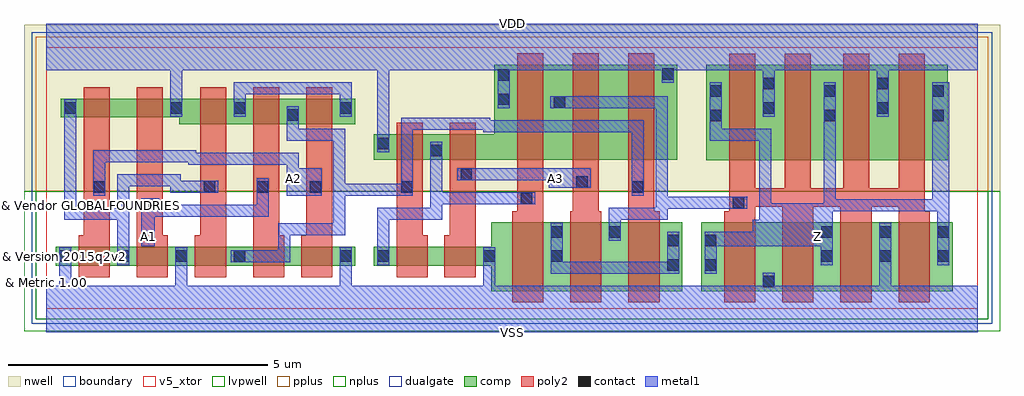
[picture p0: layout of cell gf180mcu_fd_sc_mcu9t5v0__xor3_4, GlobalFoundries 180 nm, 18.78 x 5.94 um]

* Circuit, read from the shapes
.subckt gf180mcu_fd_sc_mcu9t5v0__xor3_4 A1 A2 A3 VDD VSS Z
XM1 n1 A2 VSS VSUBS nfet_05v0 w=0.36u l=0.6u
XM2 VSS A1 n1 VSUBS nfet_05v0 w=0.36u l=0.6u
XM3 n2 n1 VSS VSUBS nfet_05v0 w=0.36u l=0.6u
XM4 n3 A1 n2 VSUBS nfet_05v0 w=0.36u l=0.6u
XM5 VSS A2 n3 VSUBS nfet_05v0 w=0.36u l=0.6u
XM6 n4 n2 n5 VSUBS nfet_05v0 w=0.36u l=0.6u
XM7 VSS A3 n4 VSUBS nfet_05v0 w=0.36u l=0.6u
XM8 n6 n5 VSS VSUBS nfet_05v0 w=1.32u l=0.6u
XM9 n7 A3 n6 VSUBS nfet_05v0 w=1.32u l=0.6u
XM10 n6 n2 n7 VSUBS nfet_05v0 w=1.32u l=0.6u
XM11 VSS n7 Z VSUBS nfet_05v0 w=1.32u l=0.6u m=4
XM12 n8 A2 n1 n9 pfet_05v0 w=0.36u l=0.5u
XM13 VDD A1 n8 n9 pfet_05v0 w=0.36u l=0.5u
XM14 n10 n1 VDD n9 pfet_05v0 w=0.495u l=0.5u
XM15 n2 A1 n10 n9 pfet_05v0 w=0.495u l=0.5u
XM16 n10 A2 n2 n9 pfet_05v0 w=0.495u l=0.5u
XM17 n5 n2 VDD n9 pfet_05v0 w=0.495u l=0.5u
XM18 VDD A3 n5 n9 pfet_05v0 w=0.495u l=0.5u
XM19 n7 n5 VDD n9 pfet_05v0 w=1.83u l=0.5u
XM20 n11 A3 n7 n9 pfet_05v0 w=1.83u l=0.5u
XM21 VDD n2 n11 n9 pfet_05v0 w=1.83u l=0.5u
XM22 VDD n7 Z n9 pfet_05v0 w=1.83u l=0.5u m=4
.ends

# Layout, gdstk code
import gdstk
lib = gdstk.Library(unit=1e-6, precision=1e-09)
def R(c, l, rs):  # rectangles x0, y0, x1, y1
    for r in rs: c.add(gdstk.rectangle(r[:2], r[2:], *l))
def A(c, l, x, y, w, h, nx, ny, dx, dy):  # array of equal rectangles
    R(c, l, [(x+i*dx, y+j*dy, x+i*dx+w, y+j*dy+h) for i in range(nx) for j in range(ny)])
def P(c, l, *ps):  # polygons
    for p in ps: c.add(gdstk.Polygon(p, *l))
boundary = (0, 0)
nwell = (21, 0)
comp = (22, 0)
poly2 = (30, 0)
pplus = (31, 0)
nplus = (32, 0)
contact = (33, 0)
metal1 = (34, 0)
dualgate = (55, 0)
v5_xtor = (112, 1)
lvpwell = (204, 0)

gf180mcu_fd_sc_mcu9t5v0_ = lib.new_cell('gf180mcu_fd_sc_mcu9t5v0__xor3_4')
R(gf180mcu_fd_sc_mcu9t5v0_, boundary, [(0,0,17.92,5.04)])
R(gf180mcu_fd_sc_mcu9t5v0_, nwell, [(-0.43,2.265,18.35,5.47)])
R(gf180mcu_fd_sc_mcu9t5v0_, comp, [(12.6,0.345,17.44,1.665), (0.18,0.835,5.94,1.195), (12.7,2.865,17.34,4.695)])
P(gf180mcu_fd_sc_mcu9t5v0_, comp, [(2.56,3.55),(2.56,3.685),(0.28,3.685),(0.28,4.045),(5.94,4.045),(5.94,3.55)],
  [(6.3,2.87),(6.3,3.365),(8.62,3.365),(8.62,4.7),(12.14,4.7),(12.14,2.87)],
  [(8.56,0.345),(8.56,0.835),(6.3,0.835),(6.3,1.195),(8.56,1.195),(8.56,1.665),(12.24,1.665),(12.24,0.345)])
P(gf180mcu_fd_sc_mcu9t5v0_, poly2, [(0.62,0.615),(0.62,1.415),(0.72,1.415),(0.72,4.265),(1.22,4.265),(1.22,0.615)],
  [(1.74,0.615),(1.74,4.265),(2.24,4.265),(2.24,1.415),(2.34,1.415),(2.34,0.615)],
  [(2.86,0.615),(2.86,1.415),(2.96,1.415),(2.96,4.265),(3.46,4.265),(3.46,0.615)],
  [(3.98,0.615),(3.98,4.265),(4.48,4.265),(4.48,1.415),(4.58,1.415),(4.58,0.615)],
  [(4.9,0.615),(4.9,1.415),(5,1.415),(5,4.265),(5.5,4.265),(5.5,0.615)],
  [(6.74,0.615),(6.74,3.585),(7.24,3.585),(7.24,1.415),(7.34,1.415),(7.34,0.615)],
  [(7.66,0.615),(7.66,1.415),(7.76,1.415),(7.76,3.585),(8.26,3.585),(8.26,0.615)],
  [(8.96,0.125),(8.96,1.885),(9.06,1.885),(9.06,4.92),(9.56,4.92),(9.56,0.125)],
  [(10.08,0.125),(10.08,1.885),(10.13,1.885),(10.13,4.92),(10.63,4.92),(10.63,1.885),(10.68,1.885),(10.68,0.125)],
  [(11.2,0.125),(11.2,4.92),(11.7,4.92),(11.7,1.885),(11.8,1.885),(11.8,0.125)],
  [(13.04,0.125),(13.04,1.885),(13.14,1.885),(13.14,4.915),(13.64,4.915),(13.64,2.325),(14.21,2.325),(14.21,4.915),(14.71,4.915),(14.71,2.325),(15.33,2.325),(15.33,4.915),(15.83,4.915),(15.83,2.325),(16.4,2.325),(16.4,4.915),(16.9,4.915),(16.9,1.885),(17,1.885),(17,0.125),(16.4,0.125),(16.4,1.965),(15.88,1.965),(15.88,0.125),(15.28,0.125),(15.28,1.965),(14.76,1.965),(14.76,0.125),(14.16,0.125),(14.16,1.965),(13.64,1.965),(13.64,0.125)])
R(gf180mcu_fd_sc_mcu9t5v0_, pplus, [(-0.2,2.265,18.12,5.24)])
R(gf180mcu_fd_sc_mcu9t5v0_, nplus, [(-0.2,-0.2,18.12,2.265)])
A(gf180mcu_fd_sc_mcu9t5v0_, contact, 0.25, 0.905, 0.22, 0.22, 4, 1, 1.12, 0)
A(gf180mcu_fd_sc_mcu9t5v0_, contact, 14.91, 0.905, 0.22, 0.22, 3, 2, 1.12, 0.47)
A(gf180mcu_fd_sc_mcu9t5v0_, contact, 3.03, 2.24, 0.22, 0.22, 3, 1, 1.02, 0)
R(gf180mcu_fd_sc_mcu9t5v0_, contact, [(13.79,0.415,14.01,0.635), (11.95,0.74,12.17,0.96), (12.67,0.74,12.89,0.96), (5.65,0.905,5.87,1.125), (6.37,0.905,6.59,1.125), (8.41,0.905,8.63,1.125), (9.71,0.905,9.93,1.125), (11.95,1.21,12.17,1.43), (12.67,1.21,12.89,1.43), (9.71,1.375,9.93,1.595), (10.83,1.375,11.05,1.595), (1.89,1.91,2.11,2.13), (13.21,1.935,13.43,2.155), (9.13,2.02,9.35,2.24), (0.91,2.24,1.13,2.46), (6.83,2.24,7.05,2.46), (11.27,2.24,11.49,2.46), (10.2,2.335,10.42,2.555), (7.97,2.48,8.19,2.7), (7.39,2.94,7.61,3.16), (6.37,3.075,6.59,3.295), (12.77,3.61,12.99,3.83), (14.96,3.61,15.18,3.83), (17.05,3.61,17.27,3.83), (4.63,3.62,4.85,3.84), (0.35,3.755,0.57,3.975), (2.39,3.755,2.61,3.975), (3.61,3.755,3.83,3.975), (5.65,3.755,5.87,3.975), (13.79,3.755,14.01,3.975), (15.98,3.755,16.2,3.975), (9.76,3.87,9.98,4.09), (8.69,3.925,8.91,4.145), (12.77,4.08,12.99,4.3), (14.96,4.08,15.18,4.3), (17.05,4.08,17.27,4.3), (13.79,4.225,14.01,4.445), (15.98,4.225,16.2,4.445), (8.69,4.395,8.91,4.615), (11.85,4.41,12.07,4.63)])
P(gf180mcu_fd_sc_mcu9t5v0_, metal1, [(1.365,0.845),(1.365,1.72),(0.345,1.72),(0.345,4.035),(0.575,4.035),(0.575,1.95),(1.365,1.95),(1.365,2.595),(2.59,2.595),(2.59,2.465),(3.31,2.465),(3.31,2.235),(2.38,2.235),(2.38,2.365),(1.595,2.365),(1.595,0.845)],
  [(1.83,1.21),(1.83,2.135),(2.17,2.135),(2.17,2.005),(4.045,2.005),(4.045,2.52),(4.275,2.52),(4.275,1.775),(2.09,1.775),(2.09,1.21)],
  [(0.905,2.18),(0.905,3.055),(2.88,3.055),(2.88,3.005),(4.86,3.005),(4.86,2.71),(5.295,2.71),(5.295,2.18),(4.63,2.18),(4.63,2.775),(2.735,2.775),(2.735,2.825),(1.135,2.825),(1.135,2.18)],
  [(3.605,3.695),(3.605,4.36),(5.875,4.36),(5.875,3.695),(5.645,3.695),(5.645,4.13),(3.835,4.13),(3.835,3.695)],
  [(6.365,0.845),(6.365,1.95),(7.385,1.95),(7.385,3.22),(7.615,3.22),(7.615,2.245),(9.41,2.245),(9.41,2.015),(7.615,2.015),(7.615,1.72),(6.595,1.72),(6.595,0.845)],
  [(9.67,2.33),(9.67,2.475),(7.91,2.475),(7.91,2.71),(10.48,2.71),(10.48,2.33)],
  [(3.55,0.9),(3.55,1.13),(4.465,1.13),(4.465,1.645),(5.525,1.645),(5.525,3.235),(4.625,3.235),(4.625,3.9),(4.855,3.9),(4.855,3.465),(5.755,3.465),(5.755,2.41),(6.825,2.41),(6.825,3.68),(8.545,3.68),(8.545,3.635),(11.495,3.635),(11.495,2.18),(11.265,2.18),(11.265,3.405),(8.405,3.405),(8.405,3.45),(7.055,3.45),(7.055,2.18),(5.755,2.18),(5.755,1.415),(4.695,1.415),(4.695,0.9)],
  [(9.705,0.68),(9.705,1.655),(9.935,1.655),(9.935,0.91),(11.945,0.91),(11.945,1.49),(12.175,1.49),(12.175,0.68)],
  [(10.825,1.315),(10.825,1.95),(11.725,1.95),(11.725,3.865),(9.7,3.865),(9.7,4.095),(11.955,4.095),(11.955,2.16),(13.49,2.16),(13.49,1.93),(11.955,1.93),(11.955,1.72),(11.055,1.72),(11.055,1.315)],
  [(12.665,0.68),(12.665,1.49),(13.59,1.49),(13.59,1.72),(13.72,1.72),(13.72,3.235),(12.765,3.235),(12.765,4.36),(12.995,4.36),(12.995,3.465),(13.95,3.465),(13.95,2.03),(14.955,2.03),(14.955,4.36),(15.185,4.36),(15.185,2.115),(17.045,2.115),(17.045,4.36),(17.375,4.36),(17.375,0.845),(17.145,0.845),(17.145,1.885),(15.135,1.885),(15.135,0.845),(14.905,0.845),(14.905,1.21),(12.895,1.21),(12.895,0.68)],
  [(0,-0.45),(0,0.45),(0.245,0.45),(0.245,1.185),(0.475,1.185),(0.475,0.45),(2.485,0.45),(2.485,1.185),(2.715,1.185),(2.715,0.45),(5.645,0.45),(5.645,1.185),(5.875,1.185),(5.875,0.45),(8.405,0.45),(8.405,1.185),(8.635,1.185),(8.635,0.45),(13.785,0.45),(13.785,0.695),(14.015,0.695),(14.015,0.45),(16.025,0.45),(16.025,1.655),(16.255,1.655),(16.255,0.45),(17.92,0.45),(17.92,-0.45)],
  [(6.365,3.015),(6.365,4.59),(2.615,4.59),(2.615,3.695),(2.385,3.695),(2.385,4.59),(0,4.59),(0,5.49),(17.92,5.49),(17.92,4.59),(16.205,4.59),(16.205,3.695),(15.975,3.695),(15.975,4.59),(14.015,4.59),(14.015,3.695),(13.785,3.695),(13.785,4.59),(12.075,4.59),(12.075,4.35),(11.845,4.35),(11.845,4.59),(8.915,4.59),(8.915,3.865),(8.685,3.865),(8.685,4.59),(6.595,4.59),(6.595,3.015)])
R(gf180mcu_fd_sc_mcu9t5v0_, dualgate, [(-0.28,-0.28,18.2,5.32)])
R(gf180mcu_fd_sc_mcu9t5v0_, v5_xtor, [(0,0,17.92,5.04)])
R(gf180mcu_fd_sc_mcu9t5v0_, lvpwell, [(-0.43,-0.43,18.35,2.265)])
gf180mcu_fd_sc_mcu9t5v0_.add(gdstk.Label('A1', (1.96,1.4), layer=34, texttype=10))
gf180mcu_fd_sc_mcu9t5v0_.add(gdstk.Label('A2', (4.76,2.52), layer=34, texttype=10))
gf180mcu_fd_sc_mcu9t5v0_.add(gdstk.Label('A3', (9.8,2.52), layer=34, texttype=10))
gf180mcu_fd_sc_mcu9t5v0_.add(gdstk.Label('VDD', (8.96,5.49), layer=34, texttype=10))
gf180mcu_fd_sc_mcu9t5v0_.add(gdstk.Label('VSS', (8.96,-0.45), layer=34, texttype=10))
gf180mcu_fd_sc_mcu9t5v0_.add(gdstk.Label('Z', (14.84,1.4), layer=34, texttype=10))
gf180mcu_fd_sc_mcu9t5v0_.add(gdstk.Label('& Vendor GLOBALFOUNDRIES', (0,2), layer=63, texttype=63))
gf180mcu_fd_sc_mcu9t5v0_.add(gdstk.Label('& Product GF018hv5v_green_sc9', (0,1.5), layer=63, texttype=63))
gf180mcu_fd_sc_mcu9t5v0_.add(gdstk.Label('& Version 2015q2v2', (0,1), layer=63, texttype=63))
gf180mcu_fd_sc_mcu9t5v0_.add(gdstk.Label('& Metric 1.00', (0,0.5), layer=63, texttype=63))

lib.write_gds('gf180mcu_fd_sc_mcu9t5v0__xor3_4.gds')
